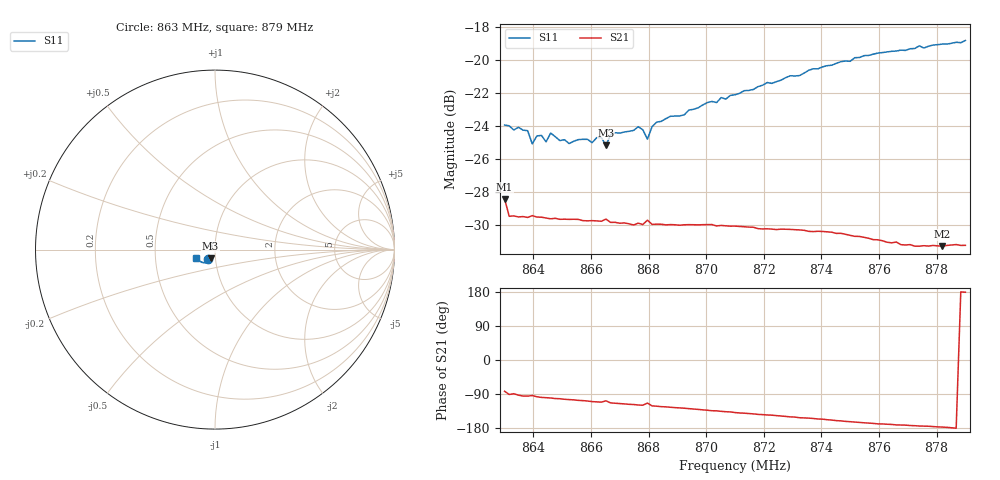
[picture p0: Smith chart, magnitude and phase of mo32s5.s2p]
# HZ S RI R 50
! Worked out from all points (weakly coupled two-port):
!   101 points, 863 MHz to 879 MHz, reference 50 ohm
!   highest |S21| = -28.43 dB at 863 MHz (marker M1); lowest = -31.3 dB at 878.2 MHz (marker M2)
!   lowest |S11| = -25.2 dB at 866.52 MHz (marker M3), VSWR 1.12, Z = 47.4 - j4.69 ohm
!   |S11| at or under -10 dB: start of sweep to end of sweep
!   S12 and S22 are empty: the file has one direction only
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8.63e8  -0.0364 -0.052  0.00496 -0.0376  0 0  0 0
8.6316e8  -0.0456 -0.0437  -0.000581 -0.0335  0 0  0 0
8.638e8  -0.0425 -0.0438  -0.00309 -0.0331  0 0  0 0
8.6396e8  -0.0359 -0.0426  -0.00219 -0.0336  0 0  0 0
8.6412e8  -0.04 -0.0432  -0.00408 -0.0331  0 0  0 0
8.6444e8  -0.0387 -0.0411  -0.00544 -0.0327  0 0  0 0
8.646e8  -0.0398 -0.0449  -0.0059 -0.0324  0 0  0 0
8.6524e8  -0.0335 -0.0447  -0.00823 -0.0318  0 0  0 0
8.6572e8  -0.0325 -0.0474  -0.00963 -0.0311  0 0  0 0
8.6604e8  -0.0313 -0.0466  -0.0111 -0.0306  0 0  0 0
8.6636e8  -0.0316 -0.0488  -0.0117 -0.0302  0 0  0 0
8.6652e8  -0.0246 -0.0494  -0.01 -0.0313  0 0  0 0
8.6668e8  -0.0308 -0.0507  -0.0127 -0.0296  0 0  0 0
8.6764e8  -0.0306 -0.0548  -0.0154 -0.028  0 0  0 0
8.6796e8  -0.0192 -0.0542  -0.0131 -0.0299  0 0  0 0
8.6812e8  -0.0295 -0.0554  -0.0164 -0.0272  0 0  0 0
8.6844e8  -0.0303 -0.0577  -0.0173 -0.0266  0 0  0 0
8.71e8  -0.0394 -0.0679  -0.0235 -0.0207  0 0  0 0
8.7372e8  -0.0585 -0.0737  -0.0272 -0.013  0 0  0 0
8.7644e8  -0.0847 -0.0642  -0.0274 -0.00481  0 0  0 0
8.782e8  -0.0993 -0.0516  -0.0272 -0.00143  0 0  0 0
8.79e8  -0.1058 -0.0443  -0.0274 0.000543  0 0  0 0
